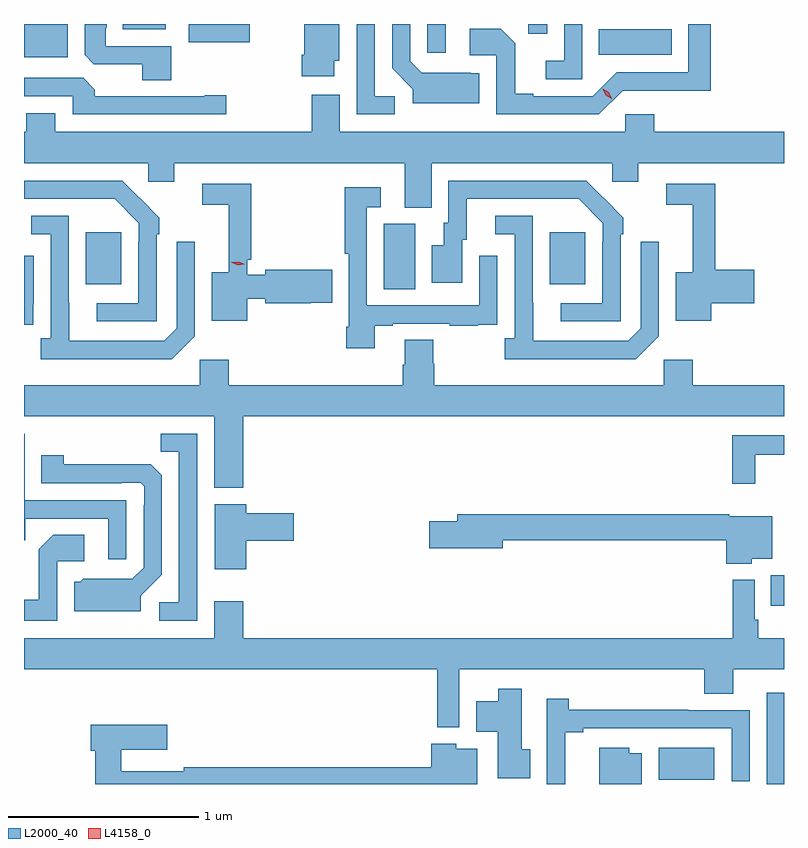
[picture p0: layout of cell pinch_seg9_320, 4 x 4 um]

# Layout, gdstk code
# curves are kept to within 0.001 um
import gdstk
lib = gdstk.Library(unit=1e-6, precision=1e-09)
def R(c, l, rs):  # rectangles x0, y0, x1, y1
    for r in rs: c.add(gdstk.rectangle(r[:2], r[2:], *l))
def P(c, l, *ps):  # polygons
    for p in ps: c.add(gdstk.Polygon(p, *l))
L2000_40 = (2000, 40)
L4158_0 = (4158, 0)

pinch_seg9_320 = lib.new_cell('pinch_seg9_320')
R(pinch_seg9_320, L2000_40, [(620.216,1181.164,620.306,1181.644), (619.646,1181.186,619.939,1181.356), (620.236,1182.101,620.306,1182.262), (618.2,1183.768,618.364,1184.112), (616.631,1183.793,616.819,1184.068), (619.073,1183.793,619.261,1184.068), (616.306,1184.99,616.537,1185.164), (619.33,1185.002,619.714,1185.136), (618.429,1185.012,618.525,1185.164), (617.172,1185.068,617.494,1185.164), (618.961,1185.112,619.059,1185.164), (616.826,1185.137,617.053,1185.164)])
P(pinch_seg9_320, L2000_40, [(618.703,1184.905),(618.659,1184.905),(618.656,1184.908),(618.399,1184.907),(618.339,1184.967),(618.339,1185.164),(618.243,1185.164),(618.243,1184.93),(618.353,1184.82),(618.353,1184.747),(618.703,1184.747)],
  [(619.458,1184.814),(619.921,1184.813),(619.921,1185.164),(619.802,1185.164),(619.802,1184.91),(619.425,1184.91),(619.299,1184.784),(618.985,1184.784),(618.985,1184.797),(618.891,1184.797),(618.891,1185.064),(618.815,1185.14),(618.651,1185.14),(618.651,1185),(618.792,1185),(618.792,1184.688),(619.332,1184.688)],
  [(618.256,1184.784),(618.153,1184.784),(618.153,1185.164),(618.057,1185.164),(618.057,1184.688),(618.256,1184.688)],
  [(617.081,1185.048),(616.737,1185.048),(616.737,1185.145),(616.741,1185.145),(616.741,1185.164),(616.625,1185.164),(616.625,1185.001),(616.674,1184.952),(616.928,1184.952),(616.928,1184.869),(617.081,1184.869)],
  [(617.938,1184.97),(617.965,1184.97),(617.965,1185.164),(617.78,1185.164),(617.78,1185.001),(617.768,1185.001),(617.768,1184.889),(617.938,1184.889)],
  [(619.245,1185.164),(619.149,1185.164),(619.149,1184.971),(619.053,1184.971),(619.053,1184.874),(619.245,1184.874)],
  [(617.371,1184.789),(617.258,1184.789),(617.258,1184.784),(616.679,1184.784),(616.679,1184.818),(616.617,1184.88),(616.306,1184.88),(616.306,1184.784),(616.563,1184.784),(616.563,1184.688),(617.371,1184.688)],
  [(618.451,1184.432),(619.401,1184.432),(619.401,1184.334),(619.54,1184.334),(619.54,1184.432),(620.306,1184.432),(620.306,1184.596),(619.622,1184.596),(619.622,1184.689),(619.47,1184.689),(619.47,1184.596),(617.968,1184.596),(617.968,1184.791),(617.821,1184.791),(617.821,1184.596),(616.471,1184.596),(616.471,1184.695),(616.319,1184.695),(616.319,1184.596),(616.306,1184.596),(616.306,1184.432),(616.959,1184.432),(616.959,1184.334),(617.098,1184.334),(617.098,1184.432),(618.311,1184.432),(618.311,1184.197),(618.451,1184.197)],
  [(619.446,1184.057),(619.461,1184.057),(619.461,1184.145),(619.264,1184.34),(618.54,1184.34),(618.54,1184.118),(618.515,1184.118),(618.515,1183.999),(618.452,1183.999),(618.452,1183.803),(618.613,1183.803),(618.613,1184.028),(618.637,1184.028),(618.637,1184.244),(619.225,1184.244),(619.353,1184.115),(619.353,1184.015),(619.35,1184.015),(619.35,1183.695),(619.131,1183.695),(619.131,1183.599),(619.446,1183.599)],
  [(617.004,1184.057),(617.019,1184.057),(617.019,1184.145),(616.822,1184.34),(616.306,1184.34),(616.306,1184.244),(616.783,1184.244),(616.911,1184.115),(616.911,1184.015),(616.908,1184.015),(616.908,1183.695),(616.689,1183.695),(616.689,1183.599),(617.004,1183.599)],
  [(619.924,1183.693),(620.149,1183.693),(620.149,1183.871),(619.943,1183.871),(619.943,1184.322),(619.686,1184.322),(619.686,1184.214),(619.826,1184.214),(619.826,1183.858),(619.736,1183.858),(619.736,1183.601),(619.924,1183.601)],
  [(617.482,1183.719),(617.576,1183.719),(617.576,1183.693),(617.816,1183.693),(617.816,1183.698),(617.929,1183.698),(617.929,1183.871),(617.576,1183.871),(617.576,1183.843),(617.481,1183.843),(617.481,1183.924),(617.501,1183.924),(617.501,1184.322),(617.244,1184.322),(617.244,1184.214),(617.384,1184.214),(617.384,1183.858),(617.294,1183.858),(617.294,1183.601),(617.482,1183.601)],
  [(618.151,1183.575),(618.247,1183.575),(618.247,1183.587),(618.547,1183.587),(618.547,1183.575),(618.695,1183.575),(618.695,1183.581),(618.797,1183.581),(618.797,1183.69),(618.798,1183.69),(618.798,1183.945),(618.702,1183.945),(618.702,1183.683),(618.111,1183.683),(618.111,1184.199),(618.184,1184.199),(618.184,1184.305),(617.995,1184.305),(617.995,1183.954),(618.015,1183.954),(618.015,1183.57),(618.002,1183.57),(618.002,1183.458),(618.151,1183.458)],
  [(619.647,1183.521),(619.647,1184.017),(619.551,1184.017),(619.551,1183.563),(619.485,1183.497),(618.985,1183.497),(618.984,1184.154),(618.786,1184.154),(618.786,1184.058),(618.888,1184.058),(618.888,1183.51),(618.837,1183.51),(618.837,1183.4),(619.526,1183.4)],
  [(617.205,1183.521),(617.205,1184.017),(617.109,1184.017),(617.109,1183.563),(617.043,1183.497),(616.543,1183.497),(616.542,1184.154),(616.344,1184.154),(616.344,1184.058),(616.446,1184.058),(616.446,1183.51),(616.395,1183.51),(616.395,1183.4),(617.084,1183.4)],
  [(616.355,1183.69),(616.356,1183.69),(616.356,1183.945),(616.306,1183.945),(616.306,1183.581),(616.355,1183.581)],
  [(620.306,1183.264),(619.826,1183.264),(619.826,1183.396),(619.674,1183.396),(619.674,1183.264),(618.464,1183.264),(618.464,1183.377),(618.459,1183.377),(618.459,1183.502),(618.311,1183.502),(618.311,1183.37),(618.299,1183.37),(618.299,1183.264),(617.384,1183.264),(617.384,1183.396),(617.232,1183.396),(617.232,1183.264),(616.306,1183.264),(616.306,1183.1),(617.306,1183.1),(617.306,1182.722),(617.459,1182.722),(617.459,1183.1),(620.306,1183.1)],
  [(617.217,1183.008),(617.026,1183.008),(617.026,1182.913),(617.121,1182.913),(617.121,1182.12),(617.019,1182.12),(617.019,1182.024),(617.217,1182.024)],
  [(616.845,1182.657),(616.311,1182.657),(616.311,1183.008),(616.306,1183.008),(616.306,1182.448),(616.313,1182.448),(616.313,1182.561),(616.749,1182.561),(616.749,1182.348),(616.845,1182.348)],
  [(620.155,1182.896),(620.306,1182.896),(620.306,1183),(620.034,1183),(620.034,1182.744),(620.155,1182.744)],
  [(616.921,1182.156),(617.031,1182.266),(617.031,1182.788),(616.972,1182.847),(616.515,1182.848),(616.515,1182.895),(616.396,1182.895),(616.396,1182.747),(616.82,1182.747),(616.82,1182.75),(616.92,1182.75),(616.938,1182.732),(616.938,1182.632),(616.935,1182.632),(616.935,1182.303),(616.875,1182.243),(616.618,1182.244),(616.602,1182.228),(616.571,1182.228),(616.571,1182.074),(616.921,1182.074)],
  [(617.476,1182.443),(617.725,1182.443),(617.725,1182.59),(617.476,1182.59),(617.476,1182.637),(617.309,1182.637),(617.309,1182.294),(617.476,1182.294)],
  [(620.136,1182.35),(620.245,1182.35),(620.245,1182.574),(620.019,1182.574),(620.019,1182.584),(618.587,1182.584),(618.587,1182.548),(618.438,1182.548),(618.438,1182.406),(618.826,1182.406),(618.826,1182.448),(620.003,1182.448),(620.003,1182.323),(620.136,1182.323)],
  [(616.482,1182.336),(616.624,1182.336),(616.624,1182.476),(616.459,1182.476),(616.383,1182.4),(616.383,1182.133),(616.306,1182.133),(616.306,1182.024),(616.482,1182.024)],
  [(618.597,1181.768),(619.886,1181.768),(619.886,1181.638),(620.038,1181.638),(620.038,1181.768),(620.306,1181.768),(620.306,1181.932),(620.171,1181.932),(620.171,1182.028),(620.151,1182.028),(620.151,1182.238),(620.035,1182.238),(620.035,1181.932),(617.459,1181.932),(617.459,1182.127),(617.306,1182.127),(617.306,1181.932),(616.306,1181.932),(616.306,1181.768),(618.481,1181.768),(618.481,1181.462),(618.597,1181.462)],
  [(618.971,1181.346),(618.925,1181.346),(618.925,1181.665),(618.803,1181.665),(618.803,1181.599),(618.686,1181.599),(618.686,1181.438),(618.8,1181.438),(618.8,1181.194),(618.971,1181.194)],
  [(619.154,1181.437),(619.249,1181.437),(619.249,1181.457),(620.031,1181.457),(620.031,1181.178),(620.127,1181.178),(620.127,1181.553),(619.802,1181.553),(619.802,1181.555),(619.172,1181.555),(619.172,1181.614),(619.056,1181.614),(619.056,1181.164),(619.154,1181.164)],
  [(618.691,1181.35),(618.582,1181.35),(618.582,1181.377),(618.449,1181.377),(618.449,1181.252),(617.146,1181.252),(617.146,1181.232),(616.817,1181.232),(616.817,1181.345),(617.059,1181.345),(617.059,1181.475),(616.658,1181.475),(616.658,1181.338),(616.681,1181.338),(616.681,1181.164),(618.691,1181.164)],
  [(619.558,1181.326),(619.492,1181.326),(619.492,1181.356),(619.334,1181.356),(619.334,1181.164),(619.558,1181.164)])
P(pinch_seg9_320, L4158_0, [(617.432,1183.894),(617.398,1183.91),(617.398,1183.91),(617.398,1183.91),(617.435,1183.914),(617.468,1183.899),(617.468,1183.899),(617.468,1183.899)],
  [(619.4,1184.771),(619.368,1184.79),(619.351,1184.823),(619.351,1184.823),(619.352,1184.823),(619.383,1184.804),(619.4,1184.771),(619.4,1184.771)])

lib.write_gds('pinch_seg9_320.gds')
